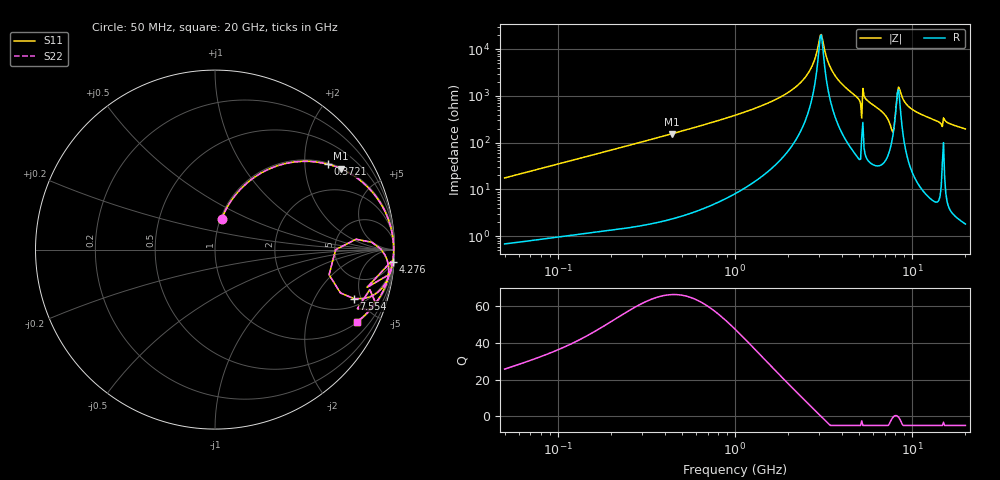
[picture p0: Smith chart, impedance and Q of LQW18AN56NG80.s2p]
!Murata Part Number: LQW18AN56NG80
!These Parameters are Measured in Series Mode Connection
!  o--[Z]--o
!Port1  Port2
!  o-------o
!Freq. Start=50[MHz] Stop=20[GHz], 401[Steps]
# Hz S RI R 50
!Freq.(Hz) S11(Real) S11(Imag) S21(Real) S21(Imag) S12(Real) S12(Imag) S22(Real) S22(Imag)
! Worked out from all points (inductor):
!   401 points, 50 MHz to 20 GHz, reference 50 ohm
!   read as one part in series: L = 55.8 nH near 51.52 MHz
!   highest Q = 66.4 at 438.7 MHz (marker M1), where L = 56 nH
!   self-resonance near 3.03 GHz
!   S11 on the Smith chart (normalised r, x): 50 MHz: 1.01, +0.35; 372.1 MHz: 1.04, +2.61; 4.276 GHz: 3, -29; 7.554 GHz: 2.59, -4.36; 20 GHz: 1.04, -3.94
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5e7  0.0363 0.1686  0.9637 -0.1686  0.9637 -0.1686  0.0363 0.1686
1.364002e8  0.1896 0.3804  0.8104 -0.3804  0.8104 -0.3804  0.1896 0.3804
3.721004e8  0.6274 0.4759  0.3726 -0.4759  0.3726 -0.4759  0.6274 0.4759
4.387496e8  0.7018 0.45  0.2982 -0.45  0.2982 -0.45  0.7018 0.45
1e9  0.9323 0.2409  0.0677 -0.2409  0.0677 -0.2409  0.9323 0.2409
1.99176e9  0.9883 0.0834  0.0117 -0.0834  0.0117 -0.0834  0.9883 0.0834
2.419936e9  0.9933 0.045  0.00671 -0.045  0.00671 -0.045  0.9933 0.045
2.728004e9  0.9948 0.0219  0.00516 -0.0219  0.00516 -0.0219  0.9948 0.0219
2.98453e9  0.9953 0.00469  0.00472 -0.00469  0.00472 -0.00469  0.9953 0.00469
3.075291e9  0.9953 -0.00109  0.00471 0.00109  0.00471 0.00109  0.9953 -0.00109
3.519108e9  0.9944 -0.0275  0.00555 0.0275  0.00555 0.0275  0.9944 -0.0275
4.275624e9  0.9902 -0.0686  0.00984 0.0686  0.00984 0.0686  0.9902 -0.0686
5.041459e9  0.9785 -0.1206  0.0215 0.1206  0.0215 0.1206  0.9785 -0.1206
5.433528e9  0.9812 -0.1082  0.0188 0.1082  0.0188 0.1082  0.9812 -0.1082
7.442007e9  0.8298 -0.2726  0.1702 0.2726  0.1702 0.2726  0.8298 -0.2726
7.554318e9  0.7749 -0.2734  0.2251 0.2734  0.2251 0.2734  0.7749 -0.2734
7.784049e9  0.6356 -0.1398  0.3644 0.1398  0.3644 0.1398  0.6356 -0.1398
8.264682e9  0.9215 0.0053  0.0785 -0.0053  0.0785 -0.0053  0.9215 0.0053
8.516016e9  0.9579 -0.0553  0.0421 0.0553  0.0421 0.0553  0.9579 -0.0553
9.316812e9  0.9652 -0.1452  0.0348 0.1452  0.0348 0.1452  0.9652 -0.1452
1.050288e10  0.9487 -0.2042  0.0513 0.2042  0.0513 0.2042  0.9487 -0.2042
2e10  0.7927 -0.4008  0.2073 0.4008  0.2073 0.4008  0.7927 -0.4008
